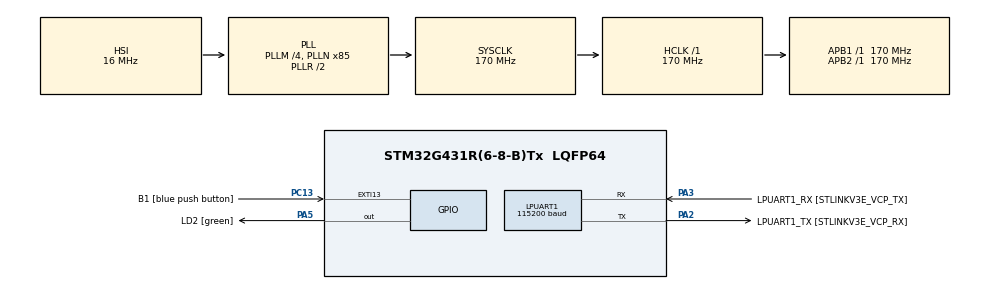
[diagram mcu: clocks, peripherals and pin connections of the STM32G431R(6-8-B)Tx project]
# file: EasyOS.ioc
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Mcu.Family=STM32G4
PC15-OSC32_OUT.Mode=LSE-External-Oscillator
RCC.CortexFreq_Value=170000000
PC13.Signal=GPXTI13
PA14.GPIO_Label=T_SWCLK
LPUART1.WordLength=UART_WORDLENGTH_8B
RCC.EXTERNAL_CLOCK_VALUE=12288000
PC13.GPIO_Label=B1 [blue push button]
PC14-OSC32_IN.Signal=RCC_OSC32_IN
RCC.SYSCLKSource=RCC_SYSCLKSOURCE_PLLCLK
ProjectManager.StackSize=0x400
PA13.Signal=SYS_JTMS-SWDIO
PA3.Mode=Asynchronous
ProjectManager.TargetToolchain=STM32CubeIDE
RCC.HCLKFreq_Value=170000000
RCC.APB2TimFreq_Value=170000000
RCC.USBFreq_Value=170000000
PC15-OSC32_OUT.Signal=RCC_OSC32_OUT
RCC.AHBFreq_Value=170000000
PF0-OSC_IN.Mode=HSE-External-Oscillator
PA5.Signal=GPIO_Output
RCC.HSE_VALUE=24000000
board=NUCLEO-G431RB
RCC.VCOOutputFreq_Value=340000000
RCC.ADC12Freq_Value=170000000
RCC.RTCClockSelection=RCC_RTCCLKSOURCE_LSE
RCC.APB2Freq_Value=170000000
PC14-OSC32_IN.Mode=LSE-External-Oscillator
PA14.Mode=Serial_Wire
VP_SYS_VS_DBSignals.Mode=DisableDeadBatterySignals
PA13.Mode=Serial_Wire
Mcu.Name=STM32G431R(6-8-B)Tx
LPUART1.BaudRate=115200
PA2.Signal=LPUART1_TX
PA13.GPIO_Label=T_SWDIO
PB3.Signal=SYS_JTDO-SWO
RCC.SYSCLKFreq_VALUE=170000000
Mcu.Package=LQFP64
PA5.GPIO_Label=LD2 [green]
PA2.GPIO_Label=LPUART1_TX [STLINKV3E_VCP_RX]
PA14.Signal=SYS_JTCK-SWCLK
ProjectManager.HeapSize=0x200
RCC.HSI_VALUE=16000000
NVIC.PriorityGroup=NVIC_PRIORITYGROUP_4
RCC.PLLM=RCC_PLLM_DIV4
RCC.PLLN=85
RCC.APB1TimFreq_Value=170000000
PA2.Mode=Asynchronous
PF0-OSC_IN.Signal=RCC_OSC_IN
PF1-OSC_OUT.Mode=HSE-External-Oscillator
RCC.APB1Freq_Value=170000000
PF1-OSC_OUT.Signal=RCC_OSC_OUT
RCC.HSI48_VALUE=48000000
PA3.GPIO_Label=LPUART1_RX [STLINKV3E_VCP_TX]
PA3.Signal=LPUART1_RX
PB3.GPIO_Label=T_SWO

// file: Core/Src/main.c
/* USER CODE BEGIN Header */
/**
  ******************************************************************************
  * @file           : main.c
  * @brief          : Main program body
  ******************************************************************************
  * @attention
  *
  * <h2><center>&copy; Copyright (c) 2022 STMicroelectronics.
  * All rights reserved.</center></h2>
  *
  * This software component is licensed by ST under BSD 3-Clause license,
  * the "License"; You may not use this file except in compliance with the
  * License. You may obtain a copy of the License at:
  *                        opensource.org/licenses/BSD-3-Clause
  *
  ******************************************************************************
  */
/* USER CODE END Header */
#include "main.h"

/* USER CODE BEGIN Includes */
#include "cmsis_os2.h"
#include "stm32g4xx_it.h"
#include <string.h>
#include "EOS_thread.h"
#include <stdio.h>
/* USER CODE END Includes */

UART_HandleTypeDef hlpuart1;

void SystemClock_Config(void);
static void MX_GPIO_Init(void);
static void MX_LPUART1_UART_Init(void);
/* USER CODE BEGIN PFP */

#ifdef __GNUC__
#define PUTCHAR_PROTOTYPE int __io_putchar(int ch)
#else
#define PUTCHAR_PROTOTYPE int fputc(int ch, FILE *f)
#endif

PUTCHAR_PROTOTYPE
{
  HAL_UART_Transmit(&hlpuart1, (uint8_t *)&ch, 1, HAL_MAX_DELAY);
  return ch;
}

void thread1();
void thread2();
void thread3();
/* USER CODE END PFP */

/* USER CODE BEGIN 0 */
int _write(int fd, char* ptr, int len) {
    HAL_UART_Transmit(&hlpuart1, (uint8_t *) ptr, len, HAL_MAX_DELAY);
    return len;
}
/* USER CODE END 0 */

int main(void)
{

  /* MCU Configuration--------------------------------------------------------*/

  /* Reset of all peripherals, Initializes the Flash interface and the Systick. */
  HAL_Init();

  /* Configure the system clock */
  SystemClock_Config();

  /* Initialize all configured peripherals */
  MX_GPIO_Init();
  MX_LPUART1_UART_Init();
  /* USER CODE BEGIN 2 */

  printf("\n\n\nSystem initialized!\n\r");

  /* set the PendSV interrupt priority to the lowest level 0xFF,
       which makes it very negative. In the ARM Cortex, negative priorities are
       high. It's frustrating. Think of them as "strong" priorities or something

       The constant 0xE000ED20 is the location of the priority table for PendSV
  */
  *(uint32_t volatile *)0xE000ED20 |= (0xFFU << 16);

  //These next three lines demonstrate how to find and set various stack pointers
  uint32_t* MSR_Original = (uint32_t*)0;
  uint32_t msrAddr = *MSR_Original;
  CBOS_threadStatus.initial_MSP_addr = msrAddr;

  //Creating threads and starting "Kernel"
  CBOS_create_thread(thread1);
  CBOS_create_thread(thread2);
  CBOS_create_thread(thread3);

  CBOS_kernel_start();

  /* USER CODE END 2 */

  /* Infinite loop */
  while (1)
  {

  }
}

void SystemClock_Config(void)
{
  RCC_OscInitTypeDef RCC_OscInitStruct = {0};
  RCC_ClkInitTypeDef RCC_ClkInitStruct = {0};
  RCC_PeriphCLKInitTypeDef PeriphClkInit = {0};

  /** Configure the main internal regulator output voltage
  */
  HAL_PWREx_ControlVoltageScaling(PWR_REGULATOR_VOLTAGE_SCALE1_BOOST);
  /** Initializes the RCC Oscillators according to the specified parameters
  * in the RCC_OscInitTypeDef structure.
  */
  RCC_OscInitStruct.OscillatorType = RCC_OSCILLATORTYPE_HSI;
  RCC_OscInitStruct.HSIState = RCC_HSI_ON;
  RCC_OscInitStruct.HSICalibrationValue = RCC_HSICALIBRATION_DEFAULT;
  RCC_OscInitStruct.PLL.PLLState = RCC_PLL_ON;
  RCC_OscInitStruct.PLL.PLLSource = RCC_PLLSOURCE_HSI;
  RCC_OscInitStruct.PLL.PLLM = RCC_PLLM_DIV4;
  RCC_OscInitStruct.PLL.PLLN = 85;
  RCC_OscInitStruct.PLL.PLLP = RCC_PLLP_DIV2;
  RCC_OscInitStruct.PLL.PLLQ = RCC_PLLQ_DIV2;
  RCC_OscInitStruct.PLL.PLLR = RCC_PLLR_DIV2;
  if (HAL_RCC_OscConfig(&RCC_OscInitStruct) != HAL_OK)
  {
    Error_Handler();
  }
  /** Initializes the CPU, AHB and APB buses clocks
  */
  RCC_ClkInitStruct.ClockType = RCC_CLOCKTYPE_HCLK|RCC_CLOCKTYPE_SYSCLK
                              |RCC_CLOCKTYPE_PCLK1|RCC_CLOCKTYPE_PCLK2;
  RCC_ClkInitStruct.SYSCLKSource = RCC_SYSCLKSOURCE_PLLCLK;
  RCC_ClkInitStruct.AHBCLKDivider = RCC_SYSCLK_DIV1;
  RCC_ClkInitStruct.APB1CLKDivider = RCC_HCLK_DIV1;
  RCC_ClkInitStruct.APB2CLKDivider = RCC_HCLK_DIV1;

  if (HAL_RCC_ClockConfig(&RCC_ClkInitStruct, FLASH_LATENCY_4) != HAL_OK)
  {
    Error_Handler();
  }
  /** Initializes the peripherals clocks
  */
  PeriphClkInit.PeriphClockSelection = RCC_PERIPHCLK_LPUART1;
  PeriphClkInit.Lpuart1ClockSelection = RCC_LPUART1CLKSOURCE_PCLK1;
  if (HAL_RCCEx_PeriphCLKConfig(&PeriphClkInit) != HAL_OK)
  {
    Error_Handler();
  }
}

static void MX_LPUART1_UART_Init(void)
{

  hlpuart1.Instance = LPUART1;
  hlpuart1.Init.BaudRate = 115200;
  hlpuart1.Init.WordLength = UART_WORDLENGTH_8B;
  hlpuart1.Init.StopBits = UART_STOPBITS_1;
  hlpuart1.Init.Parity = UART_PARITY_NONE;
  hlpuart1.Init.Mode = UART_MODE_TX_RX;
  hlpuart1.Init.HwFlowCtl = UART_HWCONTROL_NONE;
  hlpuart1.Init.OneBitSampling = UART_ONE_BIT_SAMPLE_DISABLE;
  hlpuart1.Init.ClockPrescaler = UART_PRESCALER_DIV1;
  hlpuart1.AdvancedInit.AdvFeatureInit = UART_ADVFEATURE_NO_INIT;
  if (HAL_UART_Init(&hlpuart1) != HAL_OK)
  {
    Error_Handler();
  }
  if (HAL_UARTEx_SetTxFifoThreshold(&hlpuart1, UART_TXFIFO_THRESHOLD_1_8) != HAL_OK)
  {
    Error_Handler();
  }
  if (HAL_UARTEx_SetRxFifoThreshold(&hlpuart1, UART_RXFIFO_THRESHOLD_1_8) != HAL_OK)
  {
    Error_Handler();
  }
  if (HAL_UARTEx_DisableFifoMode(&hlpuart1) != HAL_OK)
  {
    Error_Handler();
  }

}

static void MX_GPIO_Init(void)
{
  GPIO_InitTypeDef GPIO_InitStruct = {0};

  /* GPIO Ports Clock Enable */
  __HAL_RCC_GPIOC_CLK_ENABLE();
  __HAL_RCC_GPIOF_CLK_ENABLE();
  __HAL_RCC_GPIOA_CLK_ENABLE();
  __HAL_RCC_GPIOB_CLK_ENABLE();

  /*Configure GPIO pin Output Level */
  HAL_GPIO_WritePin(LD2_GPIO_Port, LD2_Pin, GPIO_PIN_RESET);

  /*Configure GPIO pin : B1_Pin */
  GPIO_InitStruct.Pin = B1_Pin;
  GPIO_InitStruct.Mode = GPIO_MODE_IT_RISING;
  GPIO_InitStruct.Pull = GPIO_NOPULL;
  HAL_GPIO_Init(B1_GPIO_Port, &GPIO_InitStruct);

  /*Configure GPIO pin : LD2_Pin */
  GPIO_InitStruct.Pin = LD2_Pin;
  GPIO_InitStruct.Mode = GPIO_MODE_OUTPUT_PP;
  GPIO_InitStruct.Pull = GPIO_NOPULL;
  GPIO_InitStruct.Speed = GPIO_SPEED_FREQ_LOW;
  HAL_GPIO_Init(LD2_GPIO_Port, &GPIO_InitStruct);

}

/* USER CODE BEGIN 4 */

void thread1()
{
    while(1)
    {
        printf("Thread 1 is running\n\r");
        //Trigger the PendSV interrupt
            volatile uint32_t *icsr = (void*)0xE000ED04; //Interrupt Control/Status Vector
            *icsr = 0x1<<28; //tell the chip to do the pendsv by writing 1 to the PDNSVSET bit

            //flush things
                __asm("isb"); //This just prevents other things in the pipeline from running before we return
                printf("Thread 1 part 2 is running\n\r");
    }
}

void thread2()
{
    while(1)
    {
        printf("Thread 2, the cool thread is running!\n\r");
        //Trigger the PendSV interrupt
            volatile uint32_t *icsr = (void*)0xE000ED04; //Interrupt Control/Status Vector
            *icsr = 0x1<<28; //tell the chip to do the pendsv by writing 1 to the PDNSVSET bit

            //flush things
                __asm("isb"); //This just prevents other things in the pipeline from running before we return
                printf("Thread 2, the cool thread part 2 is running!\n\r");
    }
}

void thread3()
{
    while(1)
    {
        printf("Thread 3, the cool thread is running!\n\r");
        //Trigger the PendSV interrupt
            volatile uint32_t *icsr = (void*)0xE000ED04; //Interrupt Control/Status Vector
            *icsr = 0x1<<28; //tell the chip to do the pendsv by writing 1 to the PDNSVSET bit

            //flush things
                __asm("isb"); //This just prevents other things in the pipeline from running before we return
                printf("Thread 3, the cool thread part 2 is running!\n\r");
    }
}

/* USER CODE END 4 */

void Error_Handler(void)
{
  __disable_irq();
  while (1)
  {
  }
}

/************************ (C) COPYRIGHT STMicroelectronics *****END OF FILE****/
